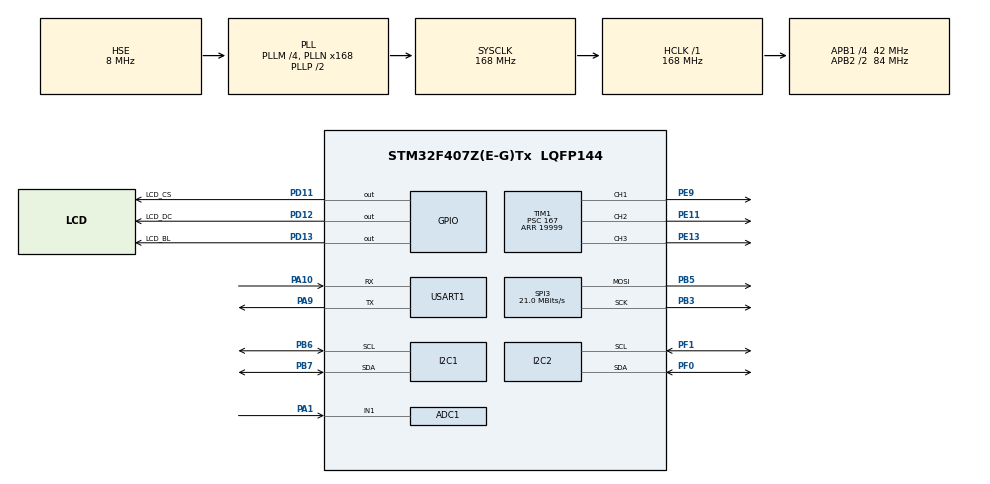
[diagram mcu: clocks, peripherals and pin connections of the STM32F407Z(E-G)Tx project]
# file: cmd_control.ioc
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Dma.Request0=USART1_RX
Dma.USART1_RX.0.Direction=DMA_PERIPH_TO_MEMORY
Dma.USART1_RX.0.FIFOMode=DMA_FIFOMODE_DISABLE
Dma.USART1_RX.0.Instance=DMA2_Stream2
Dma.USART1_RX.0.MemDataAlignment=DMA_MDATAALIGN_BYTE
Dma.USART1_RX.0.MemInc=DMA_MINC_ENABLE
Dma.USART1_RX.0.Mode=DMA_NORMAL
Dma.USART1_RX.0.PeriphDataAlignment=DMA_PDATAALIGN_BYTE
Dma.USART1_RX.0.PeriphInc=DMA_PINC_DISABLE
Dma.USART1_RX.0.Priority=DMA_PRIORITY_LOW
Mcu.Family=STM32F4
Mcu.Name=STM32F407Z(E-G)Tx
Mcu.Package=LQFP144
NVIC.DMA2_Stream2_IRQn=true\:0\:0\:false\:false\:true\:false\:true\:true
NVIC.PriorityGroup=NVIC_PRIORITYGROUP_4
NVIC.USART1_IRQn=true\:0\:0\:false\:false\:true\:true\:true\:true
PA10.Mode=Asynchronous
PA10.Signal=USART1_RX
PA13.Mode=Serial_Wire
PA13.Signal=SYS_JTMS-SWDIO
PA14.Mode=Serial_Wire
PA14.Signal=SYS_JTCK-SWCLK
PA9.Mode=Asynchronous
PA9.Signal=USART1_TX
PB3.Mode=TX_Only_Simplex_Unidirect_Master
PB3.Signal=SPI3_SCK
PB5.Mode=TX_Only_Simplex_Unidirect_Master
PB5.Signal=SPI3_MOSI
PB6.Mode=I2C
PB6.Signal=I2C1_SCL
PB7.Mode=I2C
PB7.Signal=I2C1_SDA
PD11.GPIO_Label=LCD_CS
PD11.Signal=GPIO_Output
PD12.GPIO_Label=LCD_DC
PD12.Signal=GPIO_Output
PD13.GPIO_Label=LCD_BL
PD13.Signal=GPIO_Output
PE11.Signal=S_TIM1_CH2
PE13.Signal=S_TIM1_CH3
PE9.Signal=S_TIM1_CH1
PF0.Mode=I2C
PF0.Signal=I2C2_SDA
PF1.Mode=I2C
PF1.Signal=I2C2_SCL
PH0-OSC_IN.Mode=HSE-External-Oscillator
PH0-OSC_IN.Signal=RCC_OSC_IN
PH1-OSC_OUT.Mode=HSE-External-Oscillator
PH1-OSC_OUT.Signal=RCC_OSC_OUT
ProjectManager.HeapSize=0x200
ProjectManager.StackSize=0x400
ProjectManager.TargetToolchain=STM32CubeIDE
RCC.48MHZClocksFreq_Value=84000000
RCC.AHBFreq_Value=168000000
RCC.APB1CLKDivider=RCC_HCLK_DIV4
RCC.APB1Freq_Value=42000000
RCC.APB1TimFreq_Value=84000000
RCC.APB2CLKDivider=RCC_HCLK_DIV2
RCC.APB2Freq_Value=84000000
RCC.APB2TimFreq_Value=168000000
RCC.CortexFreq_Value=168000000
RCC.HCLKFreq_Value=168000000
RCC.HSE_VALUE=8000000
RCC.HSI_VALUE=16000000
RCC.LSE_VALUE=32768
RCC.PLLM=4
RCC.PLLN=168
RCC.PLLSourceVirtual=RCC_PLLSOURCE_HSE
RCC.SYSCLKFreq_VALUE=168000000
RCC.SYSCLKSource=RCC_SYSCLKSOURCE_PLLCLK
RCC.VCOOutputFreq_Value=336000000
SH.S_TIM1_CH1.0=TIM1_CH1,PWM Generation1 CH1
SH.S_TIM1_CH2.0=TIM1_CH2,PWM Generation2 CH2
SH.S_TIM1_CH3.0=TIM1_CH3,PWM Generation3 CH3
SPI3.CalculateBaudRate=21.0 MBits/s
SPI3.Direction=SPI_DIRECTION_2LINES
SPI3.Mode=SPI_MODE_MASTER
SPI3.VirtualType=VM_MASTER
TIM1.Channel-PWM\ Generation1\ CH1=TIM_CHANNEL_1
TIM1.Channel-PWM\ Generation2\ CH2=TIM_CHANNEL_2
TIM1.Channel-PWM\ Generation3\ CH3=TIM_CHANNEL_3
TIM1.Period=19999
TIM1.Prescaler=167
TIM1.Pulse-PWM\ Generation1\ CH1=1500
TIM1.Pulse-PWM\ Generation2\ CH2=1500
TIM1.Pulse-PWM\ Generation3\ CH3=1500
USART1.VirtualMode=VM_ASYNC
board=custom
ADC1.Channel-0\#ChannelRegularConversion=ADC_CHANNEL_1
ADC1.ContinuousConvMode=DISABLE
ADC1.NbrOfConversionFlag=1
ADC1.Rank-0\#ChannelRegularConversion=1
ADC1.SamplingTime-0\#ChannelRegularConversion=ADC_SAMPLETIME_144CYCLES
ADC1.master=1
SH.ADCx_IN1.0=ADC1_IN1,IN1
PA1.Signal=ADCx_IN1
ADC1.ClockPrescaler=ADC_CLOCK_SYNC_PCLK_DIV4

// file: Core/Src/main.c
/* USER CODE BEGIN Header */
/**
  ******************************************************************************
  * @file           : main.c
  * @brief          : Main program body
  ******************************************************************************
  * @attention
  *
  * Copyright (c) 2026 STMicroelectronics.
  * All rights reserved.
  *
  * This software is licensed under terms that can be found in the LICENSE file
  * in the root directory of this software component.
  * If no LICENSE file comes with this software, it is provided AS-IS.
  *
  ******************************************************************************
  */
/* USER CODE END Header */
#include "main.h"

/* USER CODE BEGIN Includes */
#include "oled_ssd1306.h"
#include "lcd_spi_154.h"
#include "truck_control.h"
#include "truck_receiver.h"
#include "steering_feedback.h"

#include <stdio.h>
#include <string.h>

/* USER CODE END Includes */

/* USER CODE BEGIN PD */
#define UART1_DMA_RX_SIZE 256U
#define STATUS_TX_BUFFER_SIZE 768U
#define ADC_SAMPLE_PERIOD_MS 20U
#define ADC_CONVERSION_TIMEOUT_MS 5U
#define CONTROL_STATUS_PERIOD_MS 100U
#define OLED_UPDATE_PERIOD_MS 500U
#define OLED_RETRY_PERIOD_MS 1000U
#define TFT_ROW_UPDATE_PERIOD_MS 50U
#define TFT_LINE_CHARS 30U
#define PWM_MIN_PULSE_US 500U
#define PWM_MAX_PULSE_US 2500U
#define TRUCK_FIRMWARE_ID "cmd-zgt6-tft-adc-4"

/* USER CODE END PD */

ADC_HandleTypeDef hadc1;

I2C_HandleTypeDef hi2c1;
I2C_HandleTypeDef hi2c2;

SPI_HandleTypeDef hspi3;

TIM_HandleTypeDef htim1;

UART_HandleTypeDef huart1;
DMA_HandleTypeDef hdma_usart1_rx;

/* USER CODE BEGIN PV */
static uint8_t uart1_dma_rx[UART1_DMA_RX_SIZE];
static TruckReceiver truck_receiver;
static SteeringFeedback steering_feedback;
static uint8_t adc_conversion_active;
static uint32_t last_adc_sample_tick;
static uint32_t last_adc_start_tick;
static TruckCommand latest_command;
static TruckCommand applied_command;
static TruckOutputs requested_outputs;
static TruckOutputs truck_outputs;
static TruckEscController drive_esc;
static uint8_t timer_ready;
static uint8_t uart1_rx_ready;
static uint8_t control_received;
static uint8_t analog_control_received;
static uint8_t control_failsafe_active;
static uint8_t button_override_active;
static uint8_t button_override_up;
static uint8_t button_override_down;
static uint8_t last_rx_field_mask;
static uint8_t oled_ready;
static uint8_t tft_ready;
static uint8_t tft_next_row;
static uint8_t last_json_valid;
static uint32_t last_valid_control_tick;
static uint32_t last_analog_control_tick;
static uint32_t button_override_tick;
static uint32_t last_periodic_status_tick;
static uint32_t last_oled_update_tick;
static uint32_t last_oled_retry_tick;
static uint32_t last_tft_update_tick;
static uint32_t valid_frame_count;
static uint32_t invalid_frame_count;
static volatile uint8_t uart1_restart_requested;
static volatile uint8_t uart1_tx_busy;
static volatile uint32_t uart1_rx_events;
static volatile uint32_t uart1_rx_bytes;
static volatile uint32_t uart1_error_count;
static char status_tx_buffer[STATUS_TX_BUFFER_SIZE];

/* USER CODE END PV */

void SystemClock_Config(void);
static void MX_GPIO_Init(void);
static void MX_DMA_Init(void);
static void MX_USART1_UART_Init(void);
static void MX_I2C1_Init(void);
static void MX_I2C2_Init(void);
static void MX_SPI3_Init(void);
static void MX_TIM1_Init(void);
static void MX_ADC1_Init(void);

/* USER CODE BEGIN 0 */
static uint16_t TimerPulseUs(uint16_t pulse_us)
{
  if (pulse_us < PWM_MIN_PULSE_US)
  {
    pulse_us = PWM_MIN_PULSE_US;
  }
  else if (pulse_us > PWM_MAX_PULSE_US)
  {
    pulse_us = PWM_MAX_PULSE_US;
  }
  return pulse_us;
}

static HAL_StatusTypeDef ApplyServoTargets(const TruckOutputs *outputs)
{
  if ((outputs == NULL) || (timer_ready == 0U))
  {
    return HAL_ERROR;
  }

  /* TIM1 counts in microseconds: CH1 steering, CH2 lift, CH3 drive. */
  __HAL_TIM_SET_COMPARE(&htim1, TIM_CHANNEL_1,
      TimerPulseUs(outputs->pulse_us[TRUCK_CHANNEL_STEERING]));
  __HAL_TIM_SET_COMPARE(&htim1, TIM_CHANNEL_2,
      TimerPulseUs(outputs->pulse_us[TRUCK_CHANNEL_LIFT]));
  __HAL_TIM_SET_COMPARE(&htim1, TIM_CHANNEL_3,
      TimerPulseUs(outputs->pulse_us[TRUCK_CHANNEL_DRIVE]));
  return HAL_OK;
}

static HAL_StatusTypeDef StartTimerOutputs(const TruckOutputs *neutral)
{
  if (neutral == NULL)
  {
    return HAL_ERROR;
  }

  /* Load neutral values before enabling any output. */
  __HAL_TIM_SET_COMPARE(&htim1, TIM_CHANNEL_1,
      TimerPulseUs(neutral->pulse_us[TRUCK_CHANNEL_STEERING]));
  __HAL_TIM_SET_COMPARE(&htim1, TIM_CHANNEL_2,
      TimerPulseUs(neutral->pulse_us[TRUCK_CHANNEL_LIFT]));
  __HAL_TIM_SET_COMPARE(&htim1, TIM_CHANNEL_3,
      TimerPulseUs(neutral->pulse_us[TRUCK_CHANNEL_DRIVE]));

  if (HAL_TIM_PWM_Start(&htim1, TIM_CHANNEL_1) != HAL_OK)
  {
    return HAL_ERROR;
  }
  if (HAL_TIM_PWM_Start(&htim1, TIM_CHANNEL_2) != HAL_OK)
  {
    (void)HAL_TIM_PWM_Stop(&htim1, TIM_CHANNEL_1);
    return HAL_ERROR;
  }
  if (HAL_TIM_PWM_Start(&htim1, TIM_CHANNEL_3) != HAL_OK)
  {
    (void)HAL_TIM_PWM_Stop(&htim1, TIM_CHANNEL_2);
    (void)HAL_TIM_PWM_Stop(&htim1, TIM_CHANNEL_1);
    return HAL_ERROR;
  }
  timer_ready = 1U;
  return HAL_OK;
}

static HAL_StatusTypeDef Uart1StartReceiveToIdle(void)
{
  HAL_StatusTypeDef status = HAL_UARTEx_ReceiveToIdle_DMA(
      &huart1, uart1_dma_rx, sizeof(uart1_dma_rx));

  uart1_rx_ready = (status == HAL_OK) ? 1U : 0U;
  if (status == HAL_OK)
  {
    __HAL_DMA_DISABLE_IT(huart1.hdmarx, DMA_IT_HT);
  }
  return status;
}

static void ServiceSteeringFeedback(uint32_t now_ms)
{
  if (adc_conversion_active == 0U)
  {
    if ((uint32_t)(now_ms - last_adc_sample_tick) < ADC_SAMPLE_PERIOD_MS)
    {
      return;
    }
    last_adc_sample_tick = now_ms;
    __HAL_ADC_CLEAR_FLAG(&hadc1, ADC_FLAG_EOC | ADC_FLAG_OVR);
    ADC1->CR2 |= ADC_CR2_SWSTART;
    last_adc_start_tick = now_ms;
    adc_conversion_active = 1U;
    return;
  }
  if (((ADC1->SR & ADC_SR_OVR) != 0U) ||
      (((ADC1->SR & ADC_SR_EOC) == 0U) &&
       ((uint32_t)(now_ms - last_adc_start_tick) >= ADC_CONVERSION_TIMEOUT_MS)))
  {
    __HAL_ADC_DISABLE(&hadc1);
    __HAL_ADC_CLEAR_FLAG(&hadc1, ADC_FLAG_EOC | ADC_FLAG_OVR);
    __HAL_ADC_ENABLE(&hadc1);
    adc_conversion_active = 0U;
    SteeringFeedback_Invalidate(&steering_feedback);
    last_adc_sample_tick = now_ms;
    return;
  }
  if ((ADC1->SR & ADC_SR_EOC) != 0U)
  {
    const uint16_t raw = (uint16_t)ADC1->DR;
    adc_conversion_active = 0U;
    /* EOC may have waited while the display was busy: never rejuvenate DR. */
    (void)SteeringFeedback_Update(&steering_feedback, raw, last_adc_start_tick);
  }
}

static void SendControlStatus(const char *status, HAL_StatusTypeDef pwm_status)
{
  char feedback_json[STEERING_FEEDBACK_JSON_CAPACITY];
  int length;

  if ((status == NULL) || (uart1_tx_busy != 0U))
  {
    return;
  }

  if (!SteeringFeedback_FormatJson(&steering_feedback, HAL_GetTick(),
                                    feedback_json, sizeof(feedback_json)))
  {
    return;
  }

  length = snprintf(status_tx_buffer, sizeof(status_tx_buffer),
      "{\"type\":\"truck\",\"status\":\"%s\",\"i2c\":0,\"timer\":%u,"
      "\"fw\":\"" TRUCK_FIRMWARE_ID "\",\"rx_mask\":%u,"
      "\"timestamp_ms\":%lu,\"control_steering_deg\":%d,%s,"
      "\"rx_up\":%u,\"rx_down\":%u,\"up\":%u,\"down\":%u,"
      "\"button_override\":%u,\"steering_deg\":%d,"
      "\"throttle\":%d,\"brake\":%d,\"drive\":%d,\"lift\":%d,"
      "\"esc\":%u,\"pwm_unit\":\"us\",\"pwm\":[%u,%u,%u,%u]}\r\n",
      status, ((pwm_status == HAL_OK) && (timer_ready != 0U)) ? 1U : 0U,
      (unsigned int)last_rx_field_mask,
      (unsigned long)HAL_GetTick(), (int)truck_outputs.steering_deg,
      feedback_json,
      (unsigned int)latest_command.up, (unsigned int)latest_command.down,
      (unsigned int)applied_command.up, (unsigned int)applied_command.down,
      (unsigned int)button_override_active,
      (int)truck_outputs.steering_deg,
      (int)truck_outputs.throttle_percent,
      (int)truck_outputs.brake_percent,
      (int)truck_outputs.drive_percent,
      (int)truck_outputs.lift_percent,
      (unsigned int)drive_esc.state,
      (unsigned int)truck_outputs.pulse_us[0],
      (unsigned int)truck_outputs.pulse_us[1],
      (unsigned int)truck_outputs.pulse_us[2],
      (unsigned int)truck_outputs.pulse_us[3]);
  if ((length <= 0) || ((size_t)length >= sizeof(status_tx_buffer)))
  {
    return;
  }

  uart1_tx_busy = 1U;
  if (HAL_UART_Transmit_IT(&huart1, (uint8_t *)status_tx_buffer,
                           (uint16_t)length) != HAL_OK)
  {
    uart1_tx_busy = 0U;
  }
}

static void SendPeriodicStatus(const char *status,
                               HAL_StatusTypeDef pwm_status,
                               uint32_t now_ms)
{
  if ((uint32_t)(now_ms - last_periodic_status_tick) <
      CONTROL_STATUS_PERIOD_MS)
  {
    return;
  }
  last_periodic_status_tick = now_ms;
  SendControlStatus(status, pwm_status);
}

static void UpdateEscFilteredOutputs(uint32_t now_ms)
{
  const int16_t filtered_drive = TruckEsc_Update(
      &drive_esc, requested_outputs.drive_percent, now_ms);

  truck_outputs = requested_outputs;
  TruckControl_SetDrivePercent(&truck_outputs, filtered_drive);
}

static void BuildAppliedCommand(void)
{
  applied_command = latest_command;
  if (button_override_active != 0U)
  {
    applied_command.up = button_override_up;
    applied_command.down = button_override_down;
  }
}

static void ApplyCommandUpdate(const TruckCommand *update,
                               uint8_t field_mask,
                               uint32_t now_ms)
{
  const uint8_t analog_mask = TRUCK_FIELD_STEERING |
      TRUCK_FIELD_THROTTLE | TRUCK_FIELD_BRAKE;
  const uint8_t button_mask = TRUCK_FIELD_UP | TRUCK_FIELD_DOWN;
  const uint8_t button_only =
      (((field_mask & analog_mask) == 0U) &&
       ((field_mask & button_mask) != 0U)) ? 1U : 0U;

  if (button_only == 0U)
  {
    /* A motion frame is a snapshot: omitted fields are neutral, not stale. */
    latest_command.steering = 0.0f;
    latest_command.throttle = 0.0f;
    latest_command.brake = 0.0f;
    latest_command.up = 0U;
    latest_command.down = 0U;
    last_analog_control_tick = now_ms;
    analog_control_received = 1U;
  }
  else if ((analog_control_received != 0U) &&
           TruckControl_IsTimedOut(now_ms, last_analog_control_tick))
  {
    /* A button update cannot revive axes from an expired motion frame. */
    analog_control_received = 0U;
    latest_command.steering = 0.0f;
    latest_command.throttle = 0.0f;
    latest_command.brake = 0.0f;
  }

  if ((field_mask & TRUCK_FIELD_STEERING) != 0U)
  {
    latest_command.steering = update->steering;
  }
  if ((field_mask & TRUCK_FIELD_THROTTLE) != 0U)
  {
    latest_command.throttle = update->throttle;
  }
  if ((field_mask & TRUCK_FIELD_BRAKE) != 0U)
  {
    latest_command.brake = update->brake;
  }

  if (button_only != 0U)
  {
    if (button_override_active == 0U)
    {
      button_override_up = 0U;
      button_override_down = 0U;
    }
    if ((field_mask & TRUCK_FIELD_UP) != 0U)
    {
      button_override_up = update->up;
      if (update->up != 0U)
      {
        button_override_down = 0U;
      }
    }
    if ((field_mask & TRUCK_FIELD_DOWN) != 0U)
    {
      button_override_down = update->down;
      if (update->down != 0U)
      {
        button_override_up = 0U;
      }
    }
    button_override_active =
        ((button_override_up != 0U) || (button_override_down != 0U)) ?
        1U : 0U;
    button_override_tick = now_ms;
  }
  else
  {
    if ((field_mask & TRUCK_FIELD_UP) != 0U)
    {
      latest_command.up = update->up;
    }
    if ((field_mask & TRUCK_FIELD_DOWN) != 0U)
    {
      latest_command.down = update->down;
    }
  }
  BuildAppliedCommand();
}

static void ProcessReceivedFrames(void)
{
  char frame[TRUCK_FRAME_MAX_LEN];
  uint8_t received_valid_frame = 0U;
  uint8_t received_invalid_frame = 0U;
  uint32_t now_ms = HAL_GetTick();

  while (TruckReceiver_Pop(&truck_receiver, frame, sizeof(frame)))
  {
    TruckCommand update;
    uint8_t field_mask;

    if (!TruckReceiver_ParseJsonUpdate(frame, &update, &field_mask))
    {
      received_invalid_frame = 1U;
      invalid_frame_count++;
      last_json_valid = 0U;
      continue;
    }
    valid_frame_count++;
    last_json_valid = 1U;
    last_rx_field_mask = field_mask;
    ApplyCommandUpdate(&update, field_mask, now_ms);
    received_valid_frame = 1U;
  }

  if (received_valid_frame != 0U)
  {
    HAL_StatusTypeDef pwm_status;

    now_ms = HAL_GetTick();
    TruckControl_MapCommand(&applied_command, &requested_outputs);
    UpdateEscFilteredOutputs(now_ms);
    pwm_status = ApplyServoTargets(&truck_outputs);
    last_valid_control_tick = now_ms;
    control_received = 1U;
    control_failsafe_active = 0U;
    SendPeriodicStatus("applied", pwm_status, now_ms);
  }
  else if (received_invalid_frame != 0U)
  {
    SendPeriodicStatus("invalid_json", HAL_ERROR, HAL_GetTick());
  }
}

static void ServiceButtonOverride(void)
{
  HAL_StatusTypeDef pwm_status;

  if ((button_override_active == 0U) ||
      ((uint32_t)(HAL_GetTick() - button_override_tick) <=
       TRUCK_BUTTON_OVERRIDE_TIMEOUT_MS))
  {
    return;
  }

  button_override_active = 0U;
  button_override_up = 0U;
  button_override_down = 0U;
  BuildAppliedCommand();
  TruckControl_MapCommand(&applied_command, &requested_outputs);
  UpdateEscFilteredOutputs(HAL_GetTick());
  pwm_status = ApplyServoTargets(&truck_outputs);
  SendControlStatus("button_timeout", pwm_status);
}

static void ServiceEscState(void)
{
  const uint16_t previous_drive_pwm =
      truck_outputs.pulse_us[TRUCK_CHANNEL_DRIVE];
  const TruckEscState previous_state = drive_esc.state;

  UpdateEscFilteredOutputs(HAL_GetTick());
  if ((truck_outputs.pulse_us[TRUCK_CHANNEL_DRIVE] != previous_drive_pwm) ||
      (drive_esc.state != previous_state))
  {
    SendControlStatus("esc_state", ApplyServoTargets(&truck_outputs));
  }
}

static void ServiceAnalogTimeout(void)
{
  if ((analog_control_received == 0U) ||
      !TruckControl_IsTimedOut(HAL_GetTick(), last_analog_control_tick))
  {
    return;
  }

  /* Button-only traffic must not keep an old drive command alive. */
  analog_control_received = 0U;
  latest_command.steering = 0.0f;
  latest_command.throttle = 0.0f;
  latest_command.brake = 0.0f;
  BuildAppliedCommand();
  TruckControl_MapCommand(&applied_command, &requested_outputs);
  UpdateEscFilteredOutputs(HAL_GetTick());
  SendControlStatus("axes_timeout", ApplyServoTargets(&truck_outputs));
}

static void ServiceControlFailsafe(void)
{
  HAL_StatusTypeDef pwm_status;

  if ((control_received == 0U) || (control_failsafe_active != 0U) ||
      !TruckControl_IsTimedOut(HAL_GetTick(), last_valid_control_tick))
  {
    return;
  }

  /* Clear stale axes so a later button-only frame cannot revive old drive. */
  latest_command.steering = 0.0f;
  latest_command.throttle = 0.0f;
  latest_command.brake = 0.0f;
  latest_command.up = 0U;
  latest_command.down = 0U;
  button_override_active = 0U;
  button_override_up = 0U;
  button_override_down = 0U;
  analog_control_received = 0U;
  BuildAppliedCommand();
  TruckControl_SetNeutral(&requested_outputs);
  TruckEsc_Reset(&drive_esc);
  truck_outputs = requested_outputs;
  pwm_status = ApplyServoTargets(&truck_outputs);
  control_failsafe_active = 1U;
  SendControlStatus("failsafe", pwm_status);
}

static void ServiceUart1Restart(void)
{
  if (uart1_restart_requested == 0U)
  {
    return;
  }

  uart1_restart_requested = 0U;
  (void)HAL_UART_AbortReceive(&huart1);
  if (Uart1StartReceiveToIdle() != HAL_OK)
  {
    uart1_restart_requested = 1U;
  }
}

static void ServiceOled(uint32_t now_ms)
{
  char line[22];

  if (oled_ready == 0U)
  {
    if ((uint32_t)(now_ms - last_oled_retry_tick) < OLED_RETRY_PERIOD_MS)
    {
      return;
    }
    last_oled_retry_tick = now_ms;
    if (OledSsd1306_Init(&hi2c2) != HAL_OK)
    {
      return;
    }
    oled_ready = 1U;
    last_oled_update_tick = now_ms - OLED_UPDATE_PERIOD_MS;
  }

  if ((uint32_t)(now_ms - last_oled_update_tick) < OLED_UPDATE_PERIOD_MS)
  {
    return;
  }
  last_oled_update_tick = now_ms;

  OledSsd1306_Clear();
  OledSsd1306_WriteText(0U, 0U, uart1_rx_ready ? "U1:OK" : "U1:NO");
  OledSsd1306_WriteText(1U, 0U, timer_ready ? "T1:OK" : "T1:NO");
  (void)snprintf(line, sizeof(line), "STR:%d", (int)truck_outputs.steering_deg);
  OledSsd1306_WriteText(2U, 0U, line);
  (void)snprintf(line, sizeof(line), "DRV:%d", (int)truck_outputs.drive_percent);
  OledSsd1306_WriteText(3U, 0U, line);
  (void)snprintf(line, sizeof(line), "LFT:%d", (int)truck_outputs.lift_percent);
  OledSsd1306_WriteText(4U, 0U, line);
  (void)snprintf(line, sizeof(line), "P0:%u P1:%u",
                 (unsigned int)truck_outputs.pulse_us[0],
                 (unsigned int)truck_outputs.pulse_us[1]);
  OledSsd1306_WriteText(5U, 0U, line);
  (void)snprintf(line, sizeof(line), "P2:%u",
                 (unsigned int)truck_outputs.pulse_us[2]);
  OledSsd1306_WriteText(6U, 0U, line);
  (void)snprintf(line, sizeof(line), "FS:%u UP:%u DN:%u",
                 (unsigned int)control_failsafe_active,
                 (unsigned int)applied_command.up,
                 (unsigned int)applied_command.down);
  OledSsd1306_WriteText(7U, 0U, line);

  if (OledSsd1306_Update() != HAL_OK)
  {
    oled_ready = 0U;
    last_oled_retry_tick = now_ms;
  }
}

static void TftWriteLine(uint8_t row, uint32_t color, const char *text)
{
  char padded[TFT_LINE_CHARS + 1U];
  size_t length = 0U;

  memset(padded, ' ', TFT_LINE_CHARS);
  padded[TFT_LINE_CHARS] = '\0';
  if (text != NULL)
  {
    length = strlen(text);
    if (length > TFT_LINE_CHARS)
    {
      length = TFT_LINE_CHARS;
    }
    memcpy(padded, text, length);
  }

  LCD_SetColor(color);
  LCD_DisplayString(0U, (uint16_t)(8U + (uint16_t)row * 28U), padded);
}

static void TftDrawStatusRow(uint8_t row, uint32_t now_ms)
{
  char line[48];
  const char *control_state;
  uint32_t state_color;

  if (control_received == 0U)
  {
    control_state = "WAIT";
    state_color = LCD_YELLOW;
  }
  else if (control_failsafe_active != 0U)
  {
    control_state = "FAILSAFE";
    state_color = LCD_RED;
  }
  else
  {
    control_state = "ACTIVE";
    state_color = LCD_GREEN;
  }

  switch (row)
  {
    case 0U:
      (void)snprintf(line, sizeof(line), "CTRL:%s TIM1:%s",
                     control_state, timer_ready ? "ON" : "OFF");
      TftWriteLine(row, state_color, line);
      break;

    case 1U:
      (void)snprintf(line, sizeof(line), "U1:%s EV:%lu ERR:%lu",
                     uart1_rx_ready ? "DMA" : "OFF",
                     (unsigned long)uart1_rx_events,
                     (unsigned long)uart1_error_count);
      TftWriteLine(row, uart1_rx_ready ? LCD_GREEN : LCD_RED, line);
      break;

    case 2U:
      (void)snprintf(line, sizeof(line), "JSON V:%lu B:%lu Q:%lu",
                     (unsigned long)valid_frame_count,
                     (unsigned long)invalid_frame_count,
                     (unsigned long)truck_receiver.dropped_frames);
      TftWriteLine(row,
                   (last_json_valid != 0U) ? LCD_GREEN :
                   ((invalid_frame_count != 0U) ? LCD_RED : LCD_YELLOW),
                   line);
      break;

    case 3U:
      if (control_received != 0U)
      {
        (void)snprintf(line, sizeof(line), "AGE:%lums MASK:%02X BY:%lu",
                       (unsigned long)(now_ms - last_valid_control_tick),
                       (unsigned int)last_rx_field_mask,
                       (unsigned long)uart1_rx_bytes);
      }
      else
      {
        (void)snprintf(line, sizeof(line), "AGE:---- MASK:00 BY:%lu",
                       (unsigned long)uart1_rx_bytes);
      }
      TftWriteLine(row,
                   (control_failsafe_active != 0U) ? LCD_RED :
                   ((control_received != 0U) ? LCD_CYAN : LCD_YELLOW),
                   line);
      break;

    case 4U:
      (void)snprintf(line, sizeof(line), "S:%d TH:%d BR:%d",
                     (int)truck_outputs.steering_deg,
                     (int)truck_outputs.throttle_percent,
                     (int)truck_outputs.brake_percent);
      TftWriteLine(row, LCD_WHITE, line);
      break;

    case 5U:
      (void)snprintf(line, sizeof(line), "D:%+d L:%+d U:%u DN:%u",
                     (int)truck_outputs.drive_percent,
                     (int)truck_outputs.lift_percent,
                     (unsigned int)applied_command.up,
                     (unsigned int)applied_command.down);
      TftWriteLine(row, LCD_WHITE, line);
      break;

    case 6U:
      (void)snprintf(line, sizeof(line), "PWM S:%u L:%u D:%u us",
                     (unsigned int)truck_outputs.pulse_us[TRUCK_CHANNEL_STEERING],
                     (unsigned int)truck_outputs.pulse_us[TRUCK_CHANNEL_LIFT],
                     (unsigned int)truck_outputs.pulse_us[TRUCK_CHANNEL_DRIVE]);
      TftWriteLine(row, LCD_YELLOW, line);
      break;

    default:
      (void)snprintf(line, sizeof(line), "CCR %lu/%lu/%lu ESC:%u",
                     (unsigned long)TIM1->CCR1,
                     (unsigned long)TIM1->CCR2,
                     (unsigned long)TIM1->CCR3,
                     (unsigned int)drive_esc.state);
      TftWriteLine(row,
                   ((TIM1->CCR1 == truck_outputs.pulse_us[TRUCK_CHANNEL_STEERING]) &&
                    (TIM1->CCR2 == truck_outputs.pulse_us[TRUCK_CHANNEL_LIFT]) &&
                    (TIM1->CCR3 == truck_outputs.pulse_us[TRUCK_CHANNEL_DRIVE])) ?
                       LCD_GREEN : LCD_RED,
                   line);
      break;
  }
}

static void ServiceTft(uint32_t now_ms)
{
  if ((tft_ready == 0U) ||
      ((uint32_t)(now_ms - last_tft_update_tick) <
       TFT_ROW_UPDATE_PERIOD_MS))
  {
    return;
  }

  last_tft_update_tick = now_ms;
  TftDrawStatusRow(tft_next_row, now_ms);
  tft_next_row = (uint8_t)((tft_next_row + 1U) % 8U);
}

/* USER CODE END 0 */

int main(void)
{

  /* MCU Configuration--------------------------------------------------------*/

  /* Reset of all peripherals, Initializes the Flash interface and the Systick. */
  HAL_Init();

  /* Configure the system clock */
  SystemClock_Config();

  /* Initialize all configured peripherals */
  MX_GPIO_Init();
  MX_DMA_Init();
  MX_USART1_UART_Init();
  MX_I2C1_Init();
  MX_I2C2_Init();
  MX_SPI3_Init();
  MX_TIM1_Init();
  MX_ADC1_Init();
  /* USER CODE BEGIN 2 */

  TruckReceiver_Init(&truck_receiver);
  SteeringFeedback_Init(&steering_feedback);
  latest_command.steering = 0.0f;
  latest_command.throttle = 0.0f;
  latest_command.brake = 0.0f;
  latest_command.up = 0U;
  latest_command.down = 0U;
  BuildAppliedCommand();
  TruckControl_SetNeutral(&requested_outputs);
  TruckEsc_Init(&drive_esc);
  truck_outputs = requested_outputs;

  if (Uart1StartReceiveToIdle() != HAL_OK)
  {
    Error_Handler();
  }
  if (StartTimerOutputs(&truck_outputs) != HAL_OK)
  {
    Error_Handler();
  }
  SPI_LCD_Init();
  tft_ready = 1U;
  tft_next_row = 0U;
  last_tft_update_tick = HAL_GetTick() - TFT_ROW_UPDATE_PERIOD_MS;
  last_oled_retry_tick = HAL_GetTick() - OLED_RETRY_PERIOD_MS;
  last_periodic_status_tick = HAL_GetTick();
  SendControlStatus("ready", HAL_OK);

  /* USER CODE END 2 */

  /* Infinite loop */
  /* USER CODE BEGIN WHILE */
  while (1)
  {
    ServiceSteeringFeedback(HAL_GetTick());
    ProcessReceivedFrames();
    ServiceButtonOverride();
    ServiceAnalogTimeout();
    ServiceEscState();
    ServiceControlFailsafe();
    ServiceUart1Restart();
    ServiceOled(HAL_GetTick());
    ServiceTft(HAL_GetTick());
    SendPeriodicStatus(control_failsafe_active ? "failsafe" :
                       (control_received ? "applied" : "ready"),
                       timer_ready ? HAL_OK : HAL_ERROR, HAL_GetTick());
    /* USER CODE END WHILE */

  }
}

void SystemClock_Config(void)
{
  RCC_OscInitTypeDef RCC_OscInitStruct = {0};
  RCC_ClkInitTypeDef RCC_ClkInitStruct = {0};

  /** Configure the main internal regulator output voltage
  */
  __HAL_RCC_PWR_CLK_ENABLE();
  __HAL_PWR_VOLTAGESCALING_CONFIG(PWR_REGULATOR_VOLTAGE_SCALE1);

  /** Initializes the RCC Oscillators according to the specified parameters
  * in the RCC_OscInitTypeDef structure.
  */
  RCC_OscInitStruct.OscillatorType = RCC_OSCILLATORTYPE_HSE;
  RCC_OscInitStruct.HSEState = RCC_HSE_ON;
  RCC_OscInitStruct.PLL.PLLState = RCC_PLL_ON;
  RCC_OscInitStruct.PLL.PLLSource = RCC_PLLSOURCE_HSE;
  RCC_OscInitStruct.PLL.PLLM = 4;
  RCC_OscInitStruct.PLL.PLLN = 168;
  RCC_OscInitStruct.PLL.PLLP = RCC_PLLP_DIV2;
  RCC_OscInitStruct.PLL.PLLQ = 4;
  if (HAL_RCC_OscConfig(&RCC_OscInitStruct) != HAL_OK)
  {
    Error_Handler();
  }

  /** Initializes the CPU, AHB and APB buses clocks
  */
  RCC_ClkInitStruct.ClockType = RCC_CLOCKTYPE_HCLK|RCC_CLOCKTYPE_SYSCLK
                              |RCC_CLOCKTYPE_PCLK1|RCC_CLOCKTYPE_PCLK2;
  RCC_ClkInitStruct.SYSCLKSource = RCC_SYSCLKSOURCE_PLLCLK;
  RCC_ClkInitStruct.AHBCLKDivider = RCC_SYSCLK_DIV1;
  RCC_ClkInitStruct.APB1CLKDivider = RCC_HCLK_DIV4;
  RCC_ClkInitStruct.APB2CLKDivider = RCC_HCLK_DIV2;

  if (HAL_RCC_ClockConfig(&RCC_ClkInitStruct, FLASH_LATENCY_5) != HAL_OK)
  {
    Error_Handler();
  }
}

static void MX_ADC1_Init(void)
{

  ADC_ChannelConfTypeDef sConfig = {0};

  /** Configure the global features of the ADC (Clock, Resolution, Data Alignment and number of conversion)
  */
  hadc1.Instance = ADC1;
  hadc1.Init.ClockPrescaler = ADC_CLOCK_SYNC_PCLK_DIV4;
  hadc1.Init.Resolution = ADC_RESOLUTION_12B;
  hadc1.Init.ScanConvMode = DISABLE;
  hadc1.Init.ContinuousConvMode = DISABLE;
  hadc1.Init.DiscontinuousConvMode = DISABLE;
  hadc1.Init.ExternalTrigConvEdge = ADC_EXTERNALTRIGCONVEDGE_NONE;
  hadc1.Init.ExternalTrigConv = ADC_SOFTWARE_START;
  hadc1.Init.DataAlign = ADC_DATAALIGN_RIGHT;
  hadc1.Init.NbrOfConversion = 1;
  hadc1.Init.DMAContinuousRequests = DISABLE;
  hadc1.Init.EOCSelection = ADC_EOC_SINGLE_CONV;
  if (HAL_ADC_Init(&hadc1) != HAL_OK)
  {
    Error_Handler();
  }

  /** Configure for the selected ADC regular channel its corresponding rank in the sequencer and its sample time.
  */
  sConfig.Channel = ADC_CHANNEL_1;
  sConfig.Rank = 1;
  sConfig.SamplingTime = ADC_SAMPLETIME_144CYCLES;
  if (HAL_ADC_ConfigChannel(&hadc1, &sConfig) != HAL_OK)
  {
    Error_Handler();
  }
  /* USER CODE BEGIN ADC1_Init 2 */

  /* HAL_ADC_Init configures ADC1 but does not set CR2.ADON. */
  __HAL_ADC_CLEAR_FLAG(&hadc1, ADC_FLAG_EOC | ADC_FLAG_OVR);
  __HAL_ADC_ENABLE(&hadc1);

  /* USER CODE END ADC1_Init 2 */

}

static void MX_I2C1_Init(void)
{

  hi2c1.Instance = I2C1;
  hi2c1.Init.ClockSpeed = 100000;
  hi2c1.Init.DutyCycle = I2C_DUTYCYCLE_2;
  hi2c1.Init.OwnAddress1 = 0;
  hi2c1.Init.AddressingMode = I2C_ADDRESSINGMODE_7BIT;
  hi2c1.Init.DualAddressMode = I2C_DUALADDRESS_DISABLE;
  hi2c1.Init.OwnAddress2 = 0;
  hi2c1.Init.GeneralCallMode = I2C_GENERALCALL_DISABLE;
  hi2c1.Init.NoStretchMode = I2C_NOSTRETCH_DISABLE;
  if (HAL_I2C_Init(&hi2c1) != HAL_OK)
  {
    Error_Handler();
  }

}

static void MX_I2C2_Init(void)
{

  hi2c2.Instance = I2C2;
  hi2c2.Init.ClockSpeed = 100000;
  hi2c2.Init.DutyCycle = I2C_DUTYCYCLE_2;
  hi2c2.Init.OwnAddress1 = 0;
  hi2c2.Init.AddressingMode = I2C_ADDRESSINGMODE_7BIT;
  hi2c2.Init.DualAddressMode = I2C_DUALADDRESS_DISABLE;
  hi2c2.Init.OwnAddress2 = 0;
  hi2c2.Init.GeneralCallMode = I2C_GENERALCALL_DISABLE;
  hi2c2.Init.NoStretchMode = I2C_NOSTRETCH_DISABLE;
  if (HAL_I2C_Init(&hi2c2) != HAL_OK)
  {
    Error_Handler();
  }

}

static void MX_SPI3_Init(void)
{

  /* SPI3 parameter configuration*/
  hspi3.Instance = SPI3;
  hspi3.Init.Mode = SPI_MODE_MASTER;
  hspi3.Init.Direction = SPI_DIRECTION_2LINES;
  hspi3.Init.DataSize = SPI_DATASIZE_8BIT;
  hspi3.Init.CLKPolarity = SPI_POLARITY_LOW;
  hspi3.Init.CLKPhase = SPI_PHASE_1EDGE;
  hspi3.Init.NSS = SPI_NSS_SOFT;
  hspi3.Init.BaudRatePrescaler = SPI_BAUDRATEPRESCALER_2;
  hspi3.Init.FirstBit = SPI_FIRSTBIT_MSB;
  hspi3.Init.TIMode = SPI_TIMODE_DISABLE;
  hspi3.Init.CRCCalculation = SPI_CRCCALCULATION_DISABLE;
  hspi3.Init.CRCPolynomial = 10;
  if (HAL_SPI_Init(&hspi3) != HAL_OK)
  {
    Error_Handler();
  }

}

static void MX_TIM1_Init(void)
{

  TIM_MasterConfigTypeDef sMasterConfig = {0};
  TIM_OC_InitTypeDef sConfigOC = {0};
  TIM_BreakDeadTimeConfigTypeDef sBreakDeadTimeConfig = {0};

  htim1.Instance = TIM1;
  htim1.Init.Prescaler = 167;
  htim1.Init.CounterMode = TIM_COUNTERMODE_UP;
  htim1.Init.Period = 19999;
  htim1.Init.ClockDivision = TIM_CLOCKDIVISION_DIV1;
  htim1.Init.RepetitionCounter = 0;
  htim1.Init.AutoReloadPreload = TIM_AUTORELOAD_PRELOAD_DISABLE;
  if (HAL_TIM_PWM_Init(&htim1) != HAL_OK)
  {
    Error_Handler();
  }
  sMasterConfig.MasterOutputTrigger = TIM_TRGO_RESET;
  sMasterConfig.MasterSlaveMode = TIM_MASTERSLAVEMODE_DISABLE;
  if (HAL_TIMEx_MasterConfigSynchronization(&htim1, &sMasterConfig) != HAL_OK)
  {
    Error_Handler();
  }
  sConfigOC.OCMode = TIM_OCMODE_PWM1;
  sConfigOC.Pulse = 1500;
  sConfigOC.OCPolarity = TIM_OCPOLARITY_HIGH;
  sConfigOC.OCNPolarity = TIM_OCNPOLARITY_HIGH;
  sConfigOC.OCFastMode = TIM_OCFAST_DISABLE;
  sConfigOC.OCIdleState = TIM_OCIDLESTATE_RESET;
  sConfigOC.OCNIdleState = TIM_OCNIDLESTATE_RESET;
  if (HAL_TIM_PWM_ConfigChannel(&htim1, &sConfigOC, TIM_CHANNEL_1) != HAL_OK)
  {
    Error_Handler();
  }
  if (HAL_TIM_PWM_ConfigChannel(&htim1, &sConfigOC, TIM_CHANNEL_2) != HAL_OK)
  {
    Error_Handler();
  }
  if (HAL_TIM_PWM_ConfigChannel(&htim1, &sConfigOC, TIM_CHANNEL_3) != HAL_OK)
  {
    Error_Handler();
  }
  sBreakDeadTimeConfig.OffStateRunMode = TIM_OSSR_DISABLE;
  sBreakDeadTimeConfig.OffStateIDLEMode = TIM_OSSI_DISABLE;
  sBreakDeadTimeConfig.LockLevel = TIM_LOCKLEVEL_OFF;
  sBreakDeadTimeConfig.DeadTime = 0;
  sBreakDeadTimeConfig.BreakState = TIM_BREAK_DISABLE;
  sBreakDeadTimeConfig.BreakPolarity = TIM_BREAKPOLARITY_HIGH;
  sBreakDeadTimeConfig.AutomaticOutput = TIM_AUTOMATICOUTPUT_DISABLE;
  if (HAL_TIMEx_ConfigBreakDeadTime(&htim1, &sBreakDeadTimeConfig) != HAL_OK)
  {
    Error_Handler();
  }
  HAL_TIM_MspPostInit(&htim1);

}

static void MX_USART1_UART_Init(void)
{

  huart1.Instance = USART1;
  huart1.Init.BaudRate = 115200;
  huart1.Init.WordLength = UART_WORDLENGTH_8B;
  huart1.Init.StopBits = UART_STOPBITS_1;
  huart1.Init.Parity = UART_PARITY_NONE;
  huart1.Init.Mode = UART_MODE_TX_RX;
  huart1.Init.HwFlowCtl = UART_HWCONTROL_NONE;
  huart1.Init.OverSampling = UART_OVERSAMPLING_16;
  if (HAL_UART_Init(&huart1) != HAL_OK)
  {
    Error_Handler();
  }

}

static void MX_DMA_Init(void)
{

  /* DMA controller clock enable */
  __HAL_RCC_DMA2_CLK_ENABLE();

  /* DMA interrupt init */
  /* DMA2_Stream2_IRQn interrupt configuration */
  HAL_NVIC_SetPriority(DMA2_Stream2_IRQn, 0, 0);
  HAL_NVIC_EnableIRQ(DMA2_Stream2_IRQn);

}

static void MX_GPIO_Init(void)
{
  GPIO_InitTypeDef GPIO_InitStruct = {0};

  /* GPIO Ports Clock Enable */
  __HAL_RCC_GPIOF_CLK_ENABLE();
  __HAL_RCC_GPIOH_CLK_ENABLE();
  __HAL_RCC_GPIOE_CLK_ENABLE();
  __HAL_RCC_GPIOA_CLK_ENABLE();
  __HAL_RCC_GPIOC_CLK_ENABLE();
  __HAL_RCC_GPIOB_CLK_ENABLE();
  __HAL_RCC_GPIOD_CLK_ENABLE();

  HAL_GPIO_WritePin(GPIOD, GPIO_PIN_11|GPIO_PIN_12, GPIO_PIN_SET);
  HAL_GPIO_WritePin(GPIOD, GPIO_PIN_13, GPIO_PIN_RESET);

  GPIO_InitStruct.Pin = GPIO_PIN_11|GPIO_PIN_12|GPIO_PIN_13;
  GPIO_InitStruct.Mode = GPIO_MODE_OUTPUT_PP;
  GPIO_InitStruct.Pull = GPIO_NOPULL;
  GPIO_InitStruct.Speed = GPIO_SPEED_FREQ_LOW;
  HAL_GPIO_Init(GPIOD, &GPIO_InitStruct);

}

/* USER CODE BEGIN 4 */
void HAL_UART_TxCpltCallback(UART_HandleTypeDef *huart)
{
  if (huart->Instance == USART1)
  {
    uart1_tx_busy = 0U;
  }
}

void HAL_UARTEx_RxEventCallback(UART_HandleTypeDef *huart, uint16_t Size)
{
  if (huart->Instance == USART1)
  {
    uart1_rx_events++;
    uart1_rx_bytes += Size;
    TruckReceiver_FeedFromIsr(&truck_receiver, uart1_dma_rx, Size);
    if (Uart1StartReceiveToIdle() != HAL_OK)
    {
      uart1_restart_requested = 1U;
    }
  }
}

void HAL_UART_ErrorCallback(UART_HandleTypeDef *huart)
{
  if (huart->Instance == USART1)
  {
    uart1_error_count++;
    uart1_rx_ready = 0U;
    uart1_tx_busy = 0U;
    uart1_restart_requested = 1U;
  }
}

/* USER CODE END 4 */

void Error_Handler(void)
{
  __disable_irq();
  while (1)
  {
  }
}
